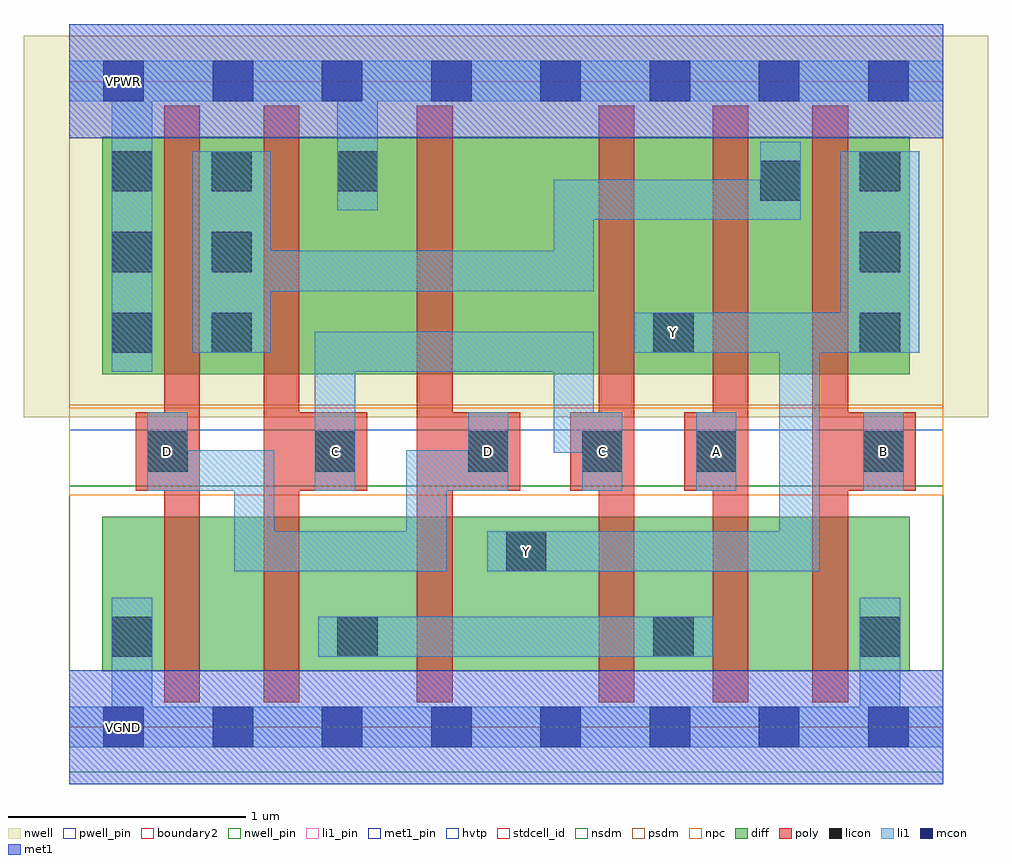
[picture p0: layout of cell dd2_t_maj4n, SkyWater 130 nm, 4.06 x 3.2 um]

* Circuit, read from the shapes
.subckt dd2_t_maj4n A B C D VGND VNB VPB VPWR Y
XM1 n1 D VGND VNB sky130_fd_pr__nfet_01v8 w=0.65 l=0.15
XM2 n2 C n1 VNB sky130_fd_pr__nfet_01v8 w=0.65 l=0.15
XM3 Y D n2 VNB sky130_fd_pr__nfet_01v8 w=0.65 l=0.15
XM4 n2 C Y VNB sky130_fd_pr__nfet_01v8 w=0.65 l=0.15
XM5 n3 A n2 VNB sky130_fd_pr__nfet_01v8 w=0.65 l=0.15
XM6 VGND B n3 VNB sky130_fd_pr__nfet_01v8 w=0.65 l=0.15
XM7 n4 D VPWR VPB sky130_fd_pr__pfet_01v8_hvt w=1 l=0.15
XM8 VPWR C n4 VPB sky130_fd_pr__pfet_01v8_hvt w=1 l=0.15
XM9 n5 D VPWR VPB sky130_fd_pr__pfet_01v8_hvt w=1 l=0.15
XM10 Y C n5 VPB sky130_fd_pr__pfet_01v8_hvt w=1 l=0.15
XM11 n4 A Y VPB sky130_fd_pr__pfet_01v8_hvt w=1 l=0.15
XM12 Y B n4 VPB sky130_fd_pr__pfet_01v8_hvt w=1 l=0.15
.ends

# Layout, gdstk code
import gdstk
lib = gdstk.Library(unit=1e-6, precision=1e-09)
def R(c, l, rs):  # rectangles x0, y0, x1, y1
    for r in rs: c.add(gdstk.rectangle(r[:2], r[2:], *l))
def A(c, l, x, y, w, h, nx, ny, dx, dy):  # array of equal rectangles
    R(c, l, [(x+i*dx, y+j*dy, x+i*dx+w, y+j*dy+h) for i in range(nx) for j in range(ny)])
nwell_pin = (64, 16)
nwell = (64, 20)
diff = (65, 20)
poly = (66, 20)
licon = (66, 44)
li1_pin = (67, 16)
li1 = (67, 20)
mcon = (67, 44)
met1_pin = (68, 16)
met1 = (68, 20)
hvtp = (78, 44)
stdcell_id = (81, 4)
nsdm = (93, 44)
psdm = (94, 20)
npc = (95, 20)
pwell_pin = (122, 16)
boundary2 = (236, 0)

dd2_t_maj4n = lib.new_cell('dd2_t_maj4n')
R(dd2_t_maj4n, nwell_pin, [(0.145,2.635,0.315,2.805)])
R(dd2_t_maj4n, nwell, [(-0.19,1.305,3.87,2.91)])
R(dd2_t_maj4n, diff, [(0.14,0.235,0.685,0.885), (0.685,0.235,1.215,0.885), (1.215,0.235,1.92,0.885), (1.92,0.235,2.545,0.885), (2.545,0.235,2.995,0.885), (2.995,0.235,3.54,0.885), (0.14,1.485,0.685,2.485), (0.685,1.485,1.215,2.485), (1.215,1.485,1.92,2.485), (1.92,1.485,2.545,2.485), (2.545,1.485,2.995,2.485), (2.995,1.485,3.54,2.485)])
R(dd2_t_maj4n, poly, [(0.4,0.105,0.55,2.615), (0.82,0.105,0.97,2.615), (1.465,0.105,1.615,2.615), (2.23,0.105,2.38,2.615), (2.71,0.105,2.86,2.615), (3.13,0.105,3.28,2.615), (0.28,0.995,0.55,1.325), (0.82,0.995,1.255,1.325), (1.465,0.995,1.9,1.325), (2.11,0.995,2.38,1.325), (2.59,0.995,2.86,1.325), (3.13,0.995,3.565,1.325)])
A(dd2_t_maj4n, licon, 1.68, 1.075, 0.17, 0.17, 3, 1, 0.48, 0)
A(dd2_t_maj4n, licon, 0.18, 1.575, 0.17, 0.17, 1, 3, 0, 0.34)
A(dd2_t_maj4n, licon, 0.6, 1.575, 0.17, 0.17, 1, 3, 0, 0.34)
A(dd2_t_maj4n, licon, 3.33, 1.575, 0.17, 0.17, 1, 3, 0, 0.34)
R(dd2_t_maj4n, licon, [(0.18,0.295,0.35,0.465), (1.13,0.295,1.3,0.465), (2.46,0.295,2.63,0.465), (3.33,0.295,3.5,0.465), (1.84,0.655,2.01,0.825), (0.33,1.075,0.5,1.245), (1.035,1.075,1.205,1.245), (3.345,1.075,3.515,1.245), (2.46,1.575,2.63,1.745), (2.91,2.215,3.08,2.385), (1.13,2.255,1.3,2.425)])
A(dd2_t_maj4n, li1_pin, 1.68, 1.075, 0.17, 0.17, 3, 1, 0.48, 0)
R(dd2_t_maj4n, li1_pin, [(1.84,0.655,2.01,0.825), (0.33,1.075,0.5,1.245), (1.035,1.075,1.205,1.245), (3.345,1.075,3.515,1.245), (2.46,1.575,2.63,1.745)])
A(dd2_t_maj4n, li1, 1.68, 0.995, 0.17, 0.33, 3, 1, 0.48, 0)
R(dd2_t_maj4n, li1, [(0,-0.085,3.68,0.085), (0.18,-0.085,0.35,0.545), (3.33,-0.085,3.5,0.545), (1.05,0.295,1.38,0.465), (1.21,0.295,2.55,0.465), (2.38,0.295,2.71,0.465), (0.695,0.655,0.865,1.165), (0.695,0.655,1.59,0.825), (1.42,0.655,1.59,1.165), (1.76,0.655,2.09,0.825), (1.92,0.655,3.16,0.825), (2.99,0.655,3.16,1.745), (0.33,0.995,0.5,1.325), (0.33,0.995,0.865,1.165), (1.035,0.995,1.205,1.325), (1.42,0.995,1.85,1.165), (1.59,0.995,1.68,1.165), (1.59,0.995,1.68,1.165), (1.59,0.995,1.68,1.165), (1.59,0.995,1.68,1.165), (3.345,0.995,3.515,1.325), (1.035,1.155,1.205,1.665), (2.04,1.155,2.21,1.665), (2.04,1.155,2.33,1.325), (0.18,1.495,0.35,2.085), (1.035,1.495,2.21,1.665), (0.52,1.575,0.85,2.085), (2.38,1.575,2.71,1.745), (2.54,1.575,3.16,1.745), (2.99,1.575,3.42,1.745), (3.16,1.575,3.25,1.745), (3.16,1.575,3.25,1.745), (3.16,1.575,3.25,1.745), (3.16,1.575,3.25,1.745), (3.16,1.575,3.25,1.745), (3.16,1.575,3.25,1.745), (3.16,1.575,3.25,1.745), (3.16,1.575,3.25,1.745), (3.16,1.575,3.25,1.745), (3.16,1.575,3.25,1.745), (3.16,1.575,3.25,1.745), (3.16,1.575,3.25,1.745), (3.16,1.575,3.25,1.745), (3.16,1.575,3.25,1.745), (3.16,1.575,3.25,1.745), (3.16,1.575,3.25,1.745), (3.25,1.575,3.58,1.745), (3.25,1.575,3.58,2.085), (0.18,1.835,0.35,2.425), (0.68,1.835,0.85,2.425), (0.68,1.835,2.21,2.005), (2.04,1.835,2.21,2.305), (0.52,1.915,0.85,2.425), (3.25,1.915,3.58,2.425), (2.04,2.005,2.21,2.135), (2.04,2.005,2.21,2.135), (2.04,2.005,2.21,2.135), (2.04,2.005,2.21,2.135), (0.18,2.085,0.35,2.175), (0.18,2.085,0.35,2.175), (0.18,2.085,0.35,2.175), (0.18,2.085,0.35,2.175), (2.04,2.135,3.08,2.305), (2.91,2.135,3.08,2.465), (0.18,2.175,0.35,2.805), (1.13,2.175,1.3,2.805), (0.52,2.255,0.85,2.425), (0,2.635,3.68,2.805)])
A(dd2_t_maj4n, mcon, 0.145, -0.085, 0.17, 0.17, 8, 2, 0.46, 2.72)
R(dd2_t_maj4n, met1_pin, [(0.145,-0.085,0.315,0.085), (0.145,2.635,0.315,2.805)])
R(dd2_t_maj4n, met1, [(0,-0.24,3.68,0.24), (0,2.48,3.68,2.96)])
R(dd2_t_maj4n, hvtp, [(0,1.25,3.68,2.72)])
R(dd2_t_maj4n, stdcell_id, [(0,0,3.68,2.72)])
R(dd2_t_maj4n, nsdm, [(0,-0.19,3.68,1.015)])
R(dd2_t_maj4n, psdm, [(0,1.355,3.68,2.91)])
R(dd2_t_maj4n, npc, [(0,0.975,3.68,1.345)])
R(dd2_t_maj4n, pwell_pin, [(0.145,-0.085,0.315,0.085)])
R(dd2_t_maj4n, boundary2, [(0,0,3.68,2.72)])
dd2_t_maj4n.add(gdstk.Label('A', (2.725,1.16), layer=67, texttype=5))
dd2_t_maj4n.add(gdstk.Label('B', (3.43,1.16), layer=67, texttype=5))
dd2_t_maj4n.add(gdstk.Label('C', (1.12,1.16), layer=67, texttype=5))
dd2_t_maj4n.add(gdstk.Label('C', (2.245,1.16), layer=67, texttype=5))
dd2_t_maj4n.add(gdstk.Label('D', (0.415,1.16), layer=67, texttype=5))
dd2_t_maj4n.add(gdstk.Label('D', (1.765,1.16), layer=67, texttype=5))
dd2_t_maj4n.add(gdstk.Label('Y', (1.925,0.74), layer=67, texttype=5))
dd2_t_maj4n.add(gdstk.Label('Y', (2.545,1.66), layer=67, texttype=5))
dd2_t_maj4n.add(gdstk.Label('VGND', (0.23,0), layer=68, texttype=5))
dd2_t_maj4n.add(gdstk.Label('VPWR', (0.23,2.72), layer=68, texttype=5))
dd2_t_maj4n.add(gdstk.Label('VPB', (0.23,2.72), layer=64, texttype=5))
dd2_t_maj4n.add(gdstk.Label('VNB', (0.23,0), layer=64, texttype=59))

lib.write_gds('dd2_t_maj4n.gds')
